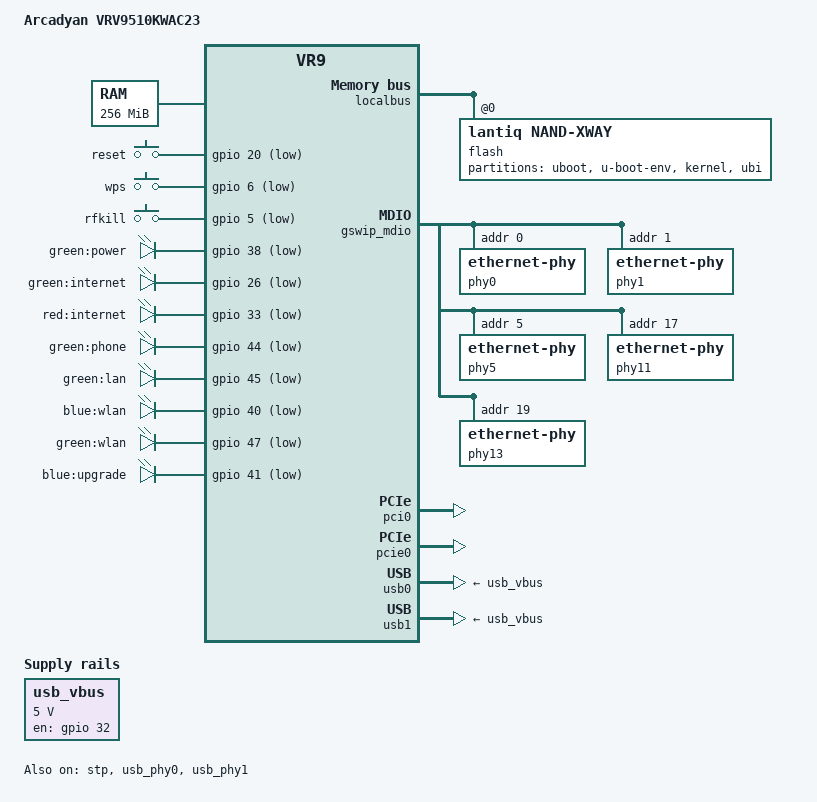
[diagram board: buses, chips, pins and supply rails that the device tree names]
// SPDX-License-Identifier: GPL-2.0-or-later

#include "vr9.dtsi"

#include <dt-bindings/input/input.h>
#include <dt-bindings/mips/lantiq_rcu_gphy.h>

/ {
	compatible = "arcadyan,vrv9510kwac23", "lantiq,xway", "lantiq,vr9";
	model = "Arcadyan VRV9510KWAC23";
	chosen {
		bootargs = "console=ttyLTQ0,115200";
	};

	aliases {
		led-boot = &power_green;
		led-failsafe = &upgrade;
		led-running = &power_green;
		led-upgrade = &power_green;

		led-internet = &internet_green;
		led-wifi = &wireless_green;
	};

	memory@0 {
		device_type = "memory";
		reg = <0x0 0x10000000>;
	};

	keys {
		compatible = "gpio-keys-polled";
		poll-interval = <100>;

		reset {
			label = "reset";
			gpios = <&gpio 20 GPIO_ACTIVE_LOW>;
			linux,code = <KEY_RESTART>;
		};
		
		wps {
			label = "wps";
			gpios = <&gpio 6 GPIO_ACTIVE_LOW>;
			linux,code = <KEY_WPS_BUTTON>;
		};

		rfkill {
			label = "rfkill";
			gpios = <&gpio 5 GPIO_ACTIVE_LOW>;
			linux,code = <KEY_RFKILL>;
		};
	};

	leds {
		compatible = "gpio-leds";
		// from top to bottom
		power_green: power {
			label = "green:power";
			gpios = <&gpio 38 GPIO_ACTIVE_LOW>;
			default-state = "keep";
		};
		internet_green: internet_green {
			label = "green:internet";
			gpios = <&gpio 26 GPIO_ACTIVE_LOW>;
		};
		internet_red {
			label = "red:internet";
			gpios = <&gpio 33 GPIO_ACTIVE_LOW>;
		};
		phone {
			label = "green:phone";
			gpios = <&gpio 44 GPIO_ACTIVE_LOW>;
		};
		lan {
			label = "green:lan";
			gpios = <&gpio 45 GPIO_ACTIVE_LOW>;
		};
		wireless_blue {
			label = "blue:wlan";
			gpios = <&gpio 40 GPIO_ACTIVE_LOW>;
		};
		wireless_green: wireless_green {
			label = "green:wlan";
			gpios = <&gpio 47 GPIO_ACTIVE_LOW>;
		};
		upgrade: upgrade {
			label = "blue:upgrade";
			gpios = <&gpio 41 GPIO_ACTIVE_LOW>;
		};
		
	};
	
	bcm43222-sprom {
		compatible = "brcm,bcm43222-sprom";

		pci-bus = <0>;
		pci-dev = <1>;

		//nvmem-cells = <&macaddr_cfe_6a0>;
		//nvmem-cell-names = "mac-address";
		//mac-address-increment = <1>;
		brcm,sprom-fixups = <97 0xfeb3>,
				    <98 0x1618>,
				    <99 0xfab0>,
				    <113 0xfed1>,
				    <114 0x1609>,
				    <115 0xfad9>;
	
	};

	usb_vbus: regulator-usb-vbus {
		compatible = "regulator-fixed";

		regulator-name = "USB_VBUS";

		regulator-min-microvolt = <5000000>;
		regulator-max-microvolt = <5000000>;

		gpio = <&gpio 32 GPIO_ACTIVE_HIGH>;
		enable-active-high;
	};
	
	
};

&localbus {
	flash@0 {
		compatible = "lantiq,nand-xway";
		lantiq,cs = <1>;
		bank-width = <2>;
		reg = <0 0x0 0x2000000>;

		pinctrl-0 = <&nand_pins>, <&nand_cs1_pins>;
		pinctrl-names = "default";

		nand-use-soft-ecc-engine;

		partitions {
			compatible = "fixed-partitions";
			#address-cells = <1>;
			#size-cells = <1>;

			partition@0 {
				label = "uboot";
				reg = <0x00000 0x80000>;
			};
			partition@40000 {
				label = "u-boot-env";
				reg = <0x80000 0x20000>;
			};
			partition@60000 {
				label = "kernel";
				reg = <0xA0000 0x3A0000>;
			};
			partition@360000 {
				label = "ubi";
				reg = <0x3A0000 0x7c60000>;
			};
		};
	};
};



&gphy0 {
	lantiq,gphy-mode = <GPHY_MODE_GE>;
};

&gphy1 {
	lantiq,gphy-mode = <GPHY_MODE_GE>;
};

&gpio {
	pinctrl-names = "default";
	pinctrl-0 = <&state_default>;

	state_default: pinmux {
		exin3 {
			lantiq,groups = "exin3";
			lantiq,function = "exin";
		};
		pci_rst {
			lantiq,pins = "io21";
			lantiq,output = <1>;
			lantiq,open-drain = <0>;
			lantiq,pull = <2>;
		};
		pcie-rst {
			lantiq,pins = "io38";
			lantiq,pull = <0>;
			lantiq,output = <1>;
		};
	};
};

&gswip {
	pinctrl-0 = <&mdio_pins>;
	pinctrl-names = "default";
};

&gswip_mdio {
	phy0: ethernet-phy@0 {
		reg = <0x0>;
	};
	phy1: ethernet-phy@1 {
		reg = <0x1>;
	};
	phy5: ethernet-phy@5 {
		reg = <0x5>;
	};
	phy11: ethernet-phy@11 {
		reg = <0x11>;
	};
	phy13: ethernet-phy@13 {
		reg = <0x13>;
	};
};

&gswip_ports {
	port@0 {
		reg = <0>;
		label = "lan2";
		phy-mode = "rgmii-id";
                tx-internal-delay-ps = <1500>;
                rx-internal-delay-ps = <1500>;
		phy-handle = <&phy0>;
	};
	port@1 {
		reg = <1>;
		label = "lan3";
		phy-mode = "rgmii-id";
                tx-internal-delay-ps = <1500>;
                rx-internal-delay-ps = <1500>;
		phy-handle = <&phy1>;
	};
	port@2 {
		reg = <2>;
		label = "lan4";
		phy-mode = "internal";
		phy-handle = <&phy11>;
	};
	port@4 {
		reg = <4>;
		label = "wan";
		phy-mode = "internal";
		phy-handle = <&phy13>;
	};
	port@5 {
		reg = <5>;
		label = "lan1";
		phy-mode = "rgmii-id";
                tx-internal-delay-ps = <1500>;
                rx-internal-delay-ps = <1500>;
		phy-handle = <&phy5>;
	};
};

&pci0 {
	status = "okay";

	pinctrl-0 = <&pci_gnt1_pins>, <&pci_req1_pins>;
	pinctrl-names = "default";
	
};

&pcie0 {
	status = "okay";
	gpio-reset = <&gpio 20 GPIO_ACTIVE_LOW>; //is this even true?
};


&stp {
	status = "okay";
};

&usb_phy0 {
	status = "okay";
};

&usb_phy1 {
	status = "okay";
};

&usb0 {
	status = "okay";
	vbus-supply = <&usb_vbus>;
};

&usb1 {
	status = "okay";
	vbus-supply = <&usb_vbus>;
};

